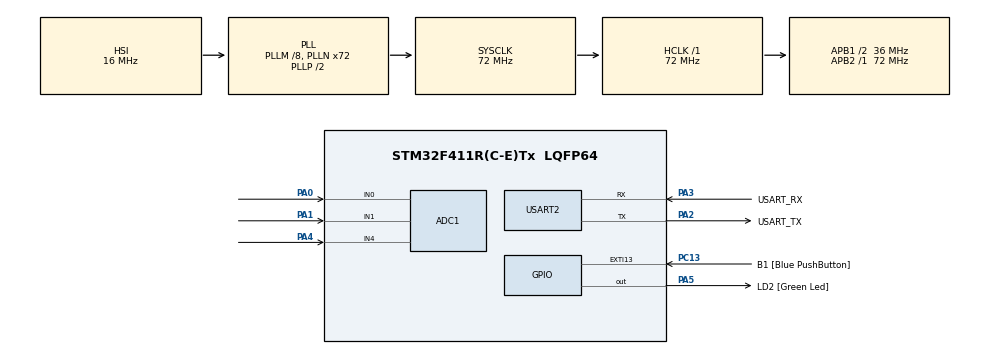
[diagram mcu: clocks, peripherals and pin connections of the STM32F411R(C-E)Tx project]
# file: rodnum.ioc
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ADC1.Channel-2\#ChannelRegularConversion=ADC_CHANNEL_0
ADC1.Channel-3\#ChannelRegularConversion=ADC_CHANNEL_0
ADC1.Channel-4\#ChannelRegularConversion=ADC_CHANNEL_0
ADC1.InjNumberOfConversion=0
ADC1.NbrOfConversion=3
ADC1.NbrOfConversionFlag=1
ADC1.Rank-2\#ChannelRegularConversion=1
ADC1.Rank-3\#ChannelRegularConversion=2
ADC1.Rank-4\#ChannelRegularConversion=3
ADC1.SamplingTime-2\#ChannelRegularConversion=ADC_SAMPLETIME_3CYCLES
ADC1.SamplingTime-3\#ChannelRegularConversion=ADC_SAMPLETIME_3CYCLES
ADC1.SamplingTime-4\#ChannelRegularConversion=ADC_SAMPLETIME_3CYCLES
ADC1.master=1
Mcu.Family=STM32F4
Mcu.Name=STM32F411R(C-E)Tx
Mcu.Package=LQFP64
NVIC.PriorityGroup=NVIC_PRIORITYGROUP_0
PA0-WKUP.Signal=ADCx_IN0
PA1.Signal=ADCx_IN1
PA13.GPIO_Label=TMS
PA13.Mode=Serial_Wire
PA13.Signal=SYS_JTMS-SWDIO
PA14.GPIO_Label=TCK
PA14.Mode=Serial_Wire
PA14.Signal=SYS_JTCK-SWCLK
PA2.GPIO_Label=USART_TX
PA2.Mode=Asynchronous
PA2.Signal=USART2_TX
PA3.GPIO_Label=USART_RX
PA3.Mode=Asynchronous
PA3.Signal=USART2_RX
PA4.Signal=ADCx_IN4
PA5.GPIO_Label=LD2 [Green Led]
PA5.Signal=GPIO_Output
PB3.GPIO_Label=SWO
PB3.Signal=SYS_JTDO-SWO
PC13-ANTI_TAMP.GPIO_Label=B1 [Blue PushButton]
PC13-ANTI_TAMP.GPIO_ModeDefaultEXTI=GPIO_MODE_IT_FALLING
PC13-ANTI_TAMP.Signal=GPXTI13
PC14-OSC32_IN.Mode=LSE-External-Oscillator
PC14-OSC32_IN.Signal=RCC_OSC32_IN
PC15-OSC32_OUT.Mode=LSE-External-Oscillator
PC15-OSC32_OUT.Signal=RCC_OSC32_OUT
PH0\ -\ OSC_IN.Mode=HSE-External-Clock-Source
PH0\ -\ OSC_IN.Signal=RCC_OSC_IN
PH1\ -\ OSC_OUT.Mode=HSE-External-Clock-Source
PH1\ -\ OSC_OUT.Signal=RCC_OSC_OUT
ProjectManager.HeapSize=0x200
ProjectManager.StackSize=0x400
ProjectManager.TargetToolchain=STM32CubeIDE
RCC.48MHZClocksFreq_Value=36000000
RCC.AHBFreq_Value=72000000
RCC.APB1CLKDivider=RCC_HCLK_DIV2
RCC.APB1Freq_Value=36000000
RCC.APB1TimFreq_Value=72000000
RCC.APB2Freq_Value=72000000
RCC.APB2TimFreq_Value=72000000
RCC.CortexFreq_Value=72000000
RCC.FLatency-AdvancedSettings=FLASH_LATENCY_2
RCC.HCLKFreq_Value=72000000
RCC.HSE_VALUE=8000000
RCC.HSI_VALUE=16000000
RCC.PLLM=8
RCC.PLLN=72
RCC.SYSCLKFreq_VALUE=72000000
RCC.SYSCLKSource=RCC_SYSCLKSOURCE_PLLCLK
RCC.VCOOutputFreq_Value=144000000
SH.ADCx_IN0.0=ADC1_IN0,IN0
SH.ADCx_IN1.0=ADC1_IN1,IN1
SH.ADCx_IN4.0=ADC1_IN4,IN4
TIM1.Period=0xffff-1
TIM1.Prescaler=72-1
USART2.VirtualMode=VM_ASYNC
VP_ADC1_TempSens_Input.Mode=IN-TempSens
VP_TIM1_VS_ClockSourceINT.Mode=Internal
board=NUCLEO-F411RE

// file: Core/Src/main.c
/* USER CODE BEGIN Header */
/**
  ******************************************************************************
  * @file           : main.c
  * @brief          : Main program body
  ******************************************************************************
  * @attention
  *
  * Copyright (c) 2023 STMicroelectronics.
  * All rights reserved.
  *
  * This software is licensed under terms that can be found in the LICENSE file
  * in the root directory of this software component.
  * If no LICENSE file comes with this software, it is provided AS-IS.
  *
  ******************************************************************************
  */
/* USER CODE END Header */
#include "main.h"

ADC_HandleTypeDef hadc1;

TIM_HandleTypeDef htim1;

UART_HandleTypeDef huart2;

void SystemClock_Config(void);
static void MX_GPIO_Init(void);
static void MX_USART2_UART_Init(void);
static void MX_ADC1_Init(void);
static void MX_TIM1_Init(void);

/* USER CODE BEGIN 0 */

/*********************************** ADC SELECT FUNCTIONS ********************************************/

void ADC_Select_CH0 (void)
{
	ADC_ChannelConfTypeDef sConfig = {0};
	  /** Configure for the selected ADC regular channel its corresponding rank in the sequencer and its sample time.
	  */
	  sConfig.Channel = ADC_CHANNEL_0;
	  sConfig.Rank = 1;
	  sConfig.SamplingTime = ADC_SAMPLETIME_28CYCLES;
	  if (HAL_ADC_ConfigChannel(&hadc1, &sConfig) != HAL_OK)
	  {
	    Error_Handler();
	  }
}

void ADC_Select_CH1 (void)
{
	ADC_ChannelConfTypeDef sConfig = {0};
	  /** Configure for the selected ADC regular channel its corresponding rank in the sequencer and its sample time.
	  */
	  sConfig.Channel = ADC_CHANNEL_1;
	  sConfig.Rank = 1;
	  sConfig.SamplingTime = ADC_SAMPLETIME_84CYCLES;
	  if (HAL_ADC_ConfigChannel(&hadc1, &sConfig) != HAL_OK)
	  {
	    Error_Handler();
	  }
}

/*********************************** DHT11 FUNCTIONS ********************************************/

void delay (uint16_t time)
{
	/* change your code here for the delay in microseconds */
	__HAL_TIM_SET_COUNTER(&htim1, 0);
	while ((__HAL_TIM_GET_COUNTER(&htim1))<time);
}

uint8_t Rh_byte1, Rh_byte2, Temp_byte1, Temp_byte2;
uint16_t SUM, RH, TEMP;

float Temperature = 0;
float Humidity = 0;
uint8_t Presence = 0;

void Set_Pin_Output (GPIO_TypeDef *GPIOx, uint16_t GPIO_Pin)
{
	GPIO_InitTypeDef GPIO_InitStruct = {0};
	GPIO_InitStruct.Pin = GPIO_Pin;
	GPIO_InitStruct.Mode = GPIO_MODE_OUTPUT_PP;
	GPIO_InitStruct.Speed = GPIO_SPEED_FREQ_LOW;
	HAL_GPIO_Init(GPIOx, &GPIO_InitStruct);
}

void Set_Pin_Input (GPIO_TypeDef *GPIOx, uint16_t GPIO_Pin)
{
	GPIO_InitTypeDef GPIO_InitStruct = {0};
	GPIO_InitStruct.Pin = GPIO_Pin;
	GPIO_InitStruct.Mode = GPIO_MODE_INPUT;
	GPIO_InitStruct.Pull = GPIO_PULLUP;
	HAL_GPIO_Init(GPIOx, &GPIO_InitStruct);
}

// CHECK PIN !!!
#define DHT11_PORT GPIOA
#define DHT11_PIN GPIO_PIN_1

void DHT11_Start (void)
{
	Set_Pin_Output (DHT11_PORT, DHT11_PIN);  // set the pin as output
	HAL_GPIO_WritePin (DHT11_PORT, DHT11_PIN, 0);   // pull the pin low
	delay (18000);   // wait for 18ms
  HAL_GPIO_WritePin (DHT11_PORT, DHT11_PIN, 1);   // pull the pin high
	delay (20);   // wait for 20us
	Set_Pin_Input(DHT11_PORT, DHT11_PIN);    // set as input
}

uint8_t DHT11_Check_Response (void)
{
	uint8_t Response = 0;
	delay (40);
	if (!(HAL_GPIO_ReadPin (DHT11_PORT, DHT11_PIN)))
	{
		delay (80);
		if ((HAL_GPIO_ReadPin (DHT11_PORT, DHT11_PIN))) Response = 1;
		else Response = -1; // 255
	}
	while ((HAL_GPIO_ReadPin (DHT11_PORT, DHT11_PIN)));   // wait for the pin to go low

	return Response;
}

uint8_t DHT11_Read (void)
{
	uint8_t i,j;
	for (j=0;j<8;j++)
	{
		while (!(HAL_GPIO_ReadPin (DHT11_PORT, DHT11_PIN)));   // wait for the pin to go high
		delay (40);   // wait for 40 us
		if (!(HAL_GPIO_ReadPin (DHT11_PORT, DHT11_PIN)))   // if the pin is low
		{
			i&= ~(1<<(7-j));   // write 0
		}
		else i|= (1<<(7-j));  // if the pin is high, write 1
		while ((HAL_GPIO_ReadPin (DHT11_PORT, DHT11_PIN)));  // wait for the pin to go low
	}
	return i;
}

/* USER CODE END 0 */

int main(void)
{

  /* MCU Configuration--------------------------------------------------------*/

  /* Reset of all peripherals, Initializes the Flash interface and the Systick. */
  HAL_Init();

  /* Configure the system clock */
  SystemClock_Config();

  /* Initialize all configured peripherals */
  MX_GPIO_Init();
  MX_USART2_UART_Init();
  MX_ADC1_Init();
  MX_TIM1_Init();

  /* Infinite loop */
  /* USER CODE BEGIN WHILE */
  char strval[100];

  HAL_TIM_Base_Start(&htim1);

  while (1)
  {
	int adcval = 0;
    // 8*2(humi(int)) + 8(temp(int)) + 8(temp(frac)) + 8(checksum)
    uint32_t humitemp1 = 0;
    uint32_t humitemp2 = 0;
    uint32_t humitemp3 = 0;
    uint32_t humitemp4 = 0;
    uint32_t humitemp5 = 0;
    int humi = 0;
    int temp = 0;

    // Sensor LDR (Light)
    ADC_Select_CH0();
    HAL_ADC_Start(&hadc1);

    if(HAL_ADC_PollForConversion(&hadc1, 1000) == HAL_OK)
    {
      adcval = HAL_ADC_GetValue(&hadc1);
    }
    HAL_ADC_Stop(&hadc1);
    sprintf(strval, "%d\r\n",(int)adcval);
    HAL_UART_Transmit(&huart2, strval, strlen(strval), 100);

    // Sensor DHT11 (Humidity and Temperature)
   ADC_Select_CH1();
   HAL_ADC_Start(&hadc1);
   if(HAL_ADC_PollForConversion(&hadc1, 1000) == HAL_OK)
   {
     humitemp1 = HAL_ADC_GetValue(&hadc1);
   }
   if(HAL_ADC_PollForConversion(&hadc1, 1000) == HAL_OK)
   {
     humitemp2 = HAL_ADC_GetValue(&hadc1);
   }
   if(HAL_ADC_PollForConversion(&hadc1, 1000) == HAL_OK)
      {
        humitemp3 = HAL_ADC_GetValue(&hadc1);
      }
   if(HAL_ADC_PollForConversion(&hadc1, 1000) == HAL_OK)
      {
        humitemp4 = HAL_ADC_GetValue(&hadc1);
      }
   if(HAL_ADC_PollForConversion(&hadc1, 1000) == HAL_OK)
      {
        humitemp5 = HAL_ADC_GetValue(&hadc1);
      }
   HAL_ADC_Stop(&hadc1);
//   humi = humitemp >> 24;
//   temp = humitemp << 0x0000FFFF;
//   sprintf(strval, "%d\t%d\r\n",(int)humi, (int)temp);
//   HAL_UART_Transmit(&huart2, strval, strlen(strval), 100);

    /********************** DHT11 *********************/
//	DHT11_Start();
//	Presence = DHT11_Check_Response();
//	Rh_byte1 = DHT11_Read ();
//	Rh_byte2 = DHT11_Read ();
//	Temp_byte1 = DHT11_Read ();
//	Temp_byte2 = DHT11_Read ();
//	SUM = DHT11_Read();
//
//	TEMP = Temp_byte1;
//	RH = Rh_byte1;
//
//	Temperature = (float) TEMP;
//	Humidity = (float) RH;
//
//  sprintf(strval, "temp=%d\thumid=%d\r\n",(int)Temperature, (int)Humidity);
//  HAL_UART_Transmit(&huart2, strval, strlen(strval), 100);

  HAL_Delay(1000);
    /* USER CODE END WHILE */

  }
}

void SystemClock_Config(void)
{
  RCC_OscInitTypeDef RCC_OscInitStruct = {0};
  RCC_ClkInitTypeDef RCC_ClkInitStruct = {0};

  /** Configure the main internal regulator output voltage
  */
  __HAL_RCC_PWR_CLK_ENABLE();
  __HAL_PWR_VOLTAGESCALING_CONFIG(PWR_REGULATOR_VOLTAGE_SCALE1);

  /** Initializes the RCC Oscillators according to the specified parameters
  * in the RCC_OscInitTypeDef structure.
  */
  RCC_OscInitStruct.OscillatorType = RCC_OSCILLATORTYPE_HSI;
  RCC_OscInitStruct.HSIState = RCC_HSI_ON;
  RCC_OscInitStruct.HSICalibrationValue = RCC_HSICALIBRATION_DEFAULT;
  RCC_OscInitStruct.PLL.PLLState = RCC_PLL_ON;
  RCC_OscInitStruct.PLL.PLLSource = RCC_PLLSOURCE_HSI;
  RCC_OscInitStruct.PLL.PLLM = 8;
  RCC_OscInitStruct.PLL.PLLN = 72;
  RCC_OscInitStruct.PLL.PLLP = RCC_PLLP_DIV2;
  RCC_OscInitStruct.PLL.PLLQ = 4;
  if (HAL_RCC_OscConfig(&RCC_OscInitStruct) != HAL_OK)
  {
    Error_Handler();
  }

  /** Initializes the CPU, AHB and APB buses clocks
  */
  RCC_ClkInitStruct.ClockType = RCC_CLOCKTYPE_HCLK|RCC_CLOCKTYPE_SYSCLK
                              |RCC_CLOCKTYPE_PCLK1|RCC_CLOCKTYPE_PCLK2;
  RCC_ClkInitStruct.SYSCLKSource = RCC_SYSCLKSOURCE_PLLCLK;
  RCC_ClkInitStruct.AHBCLKDivider = RCC_SYSCLK_DIV1;
  RCC_ClkInitStruct.APB1CLKDivider = RCC_HCLK_DIV2;
  RCC_ClkInitStruct.APB2CLKDivider = RCC_HCLK_DIV1;

  if (HAL_RCC_ClockConfig(&RCC_ClkInitStruct, FLASH_LATENCY_2) != HAL_OK)
  {
    Error_Handler();
  }
}

static void MX_ADC1_Init(void)
{

  ADC_ChannelConfTypeDef sConfig = {0};

  /** Configure the global features of the ADC (Clock, Resolution, Data Alignment and number of conversion)
  */
  hadc1.Instance = ADC1;
  hadc1.Init.ClockPrescaler = ADC_CLOCK_SYNC_PCLK_DIV2;
  hadc1.Init.Resolution = ADC_RESOLUTION_12B;
  hadc1.Init.ScanConvMode = ENABLE;
  hadc1.Init.ContinuousConvMode = DISABLE;
  hadc1.Init.DiscontinuousConvMode = DISABLE;
  hadc1.Init.ExternalTrigConvEdge = ADC_EXTERNALTRIGCONVEDGE_NONE;
  hadc1.Init.ExternalTrigConv = ADC_SOFTWARE_START;
  hadc1.Init.DataAlign = ADC_DATAALIGN_RIGHT;
  hadc1.Init.NbrOfConversion = 3;
  hadc1.Init.DMAContinuousRequests = DISABLE;
  hadc1.Init.EOCSelection = ADC_EOC_SINGLE_CONV;
  if (HAL_ADC_Init(&hadc1) != HAL_OK)
  {
    Error_Handler();
  }

  /** Configure for the selected ADC regular channel its corresponding rank in the sequencer and its sample time.
  */
  sConfig.Channel = ADC_CHANNEL_0;
  sConfig.Rank = 1;
  sConfig.SamplingTime = ADC_SAMPLETIME_3CYCLES;
  if (HAL_ADC_ConfigChannel(&hadc1, &sConfig) != HAL_OK)
  {
    Error_Handler();
  }

  /** Configure for the selected ADC regular channel its corresponding rank in the sequencer and its sample time.
  */
  sConfig.Rank = 2;
  if (HAL_ADC_ConfigChannel(&hadc1, &sConfig) != HAL_OK)
  {
    Error_Handler();
  }

  /** Configure for the selected ADC regular channel its corresponding rank in the sequencer and its sample time.
  */
  sConfig.Rank = 3;
  if (HAL_ADC_ConfigChannel(&hadc1, &sConfig) != HAL_OK)
  {
    Error_Handler();
  }

}

static void MX_TIM1_Init(void)
{

  TIM_ClockConfigTypeDef sClockSourceConfig = {0};
  TIM_MasterConfigTypeDef sMasterConfig = {0};

  htim1.Instance = TIM1;
  htim1.Init.Prescaler = 72-1;
  htim1.Init.CounterMode = TIM_COUNTERMODE_UP;
  htim1.Init.Period = 0xffff-1;
  htim1.Init.ClockDivision = TIM_CLOCKDIVISION_DIV1;
  htim1.Init.RepetitionCounter = 0;
  htim1.Init.AutoReloadPreload = TIM_AUTORELOAD_PRELOAD_DISABLE;
  if (HAL_TIM_Base_Init(&htim1) != HAL_OK)
  {
    Error_Handler();
  }
  sClockSourceConfig.ClockSource = TIM_CLOCKSOURCE_INTERNAL;
  if (HAL_TIM_ConfigClockSource(&htim1, &sClockSourceConfig) != HAL_OK)
  {
    Error_Handler();
  }
  sMasterConfig.MasterOutputTrigger = TIM_TRGO_RESET;
  sMasterConfig.MasterSlaveMode = TIM_MASTERSLAVEMODE_DISABLE;
  if (HAL_TIMEx_MasterConfigSynchronization(&htim1, &sMasterConfig) != HAL_OK)
  {
    Error_Handler();
  }

}

static void MX_USART2_UART_Init(void)
{

  huart2.Instance = USART2;
  huart2.Init.BaudRate = 115200;
  huart2.Init.WordLength = UART_WORDLENGTH_8B;
  huart2.Init.StopBits = UART_STOPBITS_1;
  huart2.Init.Parity = UART_PARITY_NONE;
  huart2.Init.Mode = UART_MODE_TX_RX;
  huart2.Init.HwFlowCtl = UART_HWCONTROL_NONE;
  huart2.Init.OverSampling = UART_OVERSAMPLING_16;
  if (HAL_UART_Init(&huart2) != HAL_OK)
  {
    Error_Handler();
  }

}

static void MX_GPIO_Init(void)
{
  GPIO_InitTypeDef GPIO_InitStruct = {0};

  /* GPIO Ports Clock Enable */
  __HAL_RCC_GPIOC_CLK_ENABLE();
  __HAL_RCC_GPIOH_CLK_ENABLE();
  __HAL_RCC_GPIOA_CLK_ENABLE();
  __HAL_RCC_GPIOB_CLK_ENABLE();

  /*Configure GPIO pin Output Level */
  HAL_GPIO_WritePin(LD2_GPIO_Port, LD2_Pin, GPIO_PIN_RESET);

  /*Configure GPIO pin : B1_Pin */
  GPIO_InitStruct.Pin = B1_Pin;
  GPIO_InitStruct.Mode = GPIO_MODE_IT_FALLING;
  GPIO_InitStruct.Pull = GPIO_NOPULL;
  HAL_GPIO_Init(B1_GPIO_Port, &GPIO_InitStruct);

  /*Configure GPIO pin : LD2_Pin */
  GPIO_InitStruct.Pin = LD2_Pin;
  GPIO_InitStruct.Mode = GPIO_MODE_OUTPUT_PP;
  GPIO_InitStruct.Pull = GPIO_NOPULL;
  GPIO_InitStruct.Speed = GPIO_SPEED_FREQ_LOW;
  HAL_GPIO_Init(LD2_GPIO_Port, &GPIO_InitStruct);

}

void Error_Handler(void)
{
  __disable_irq();
  while (1)
  {
  }
}
